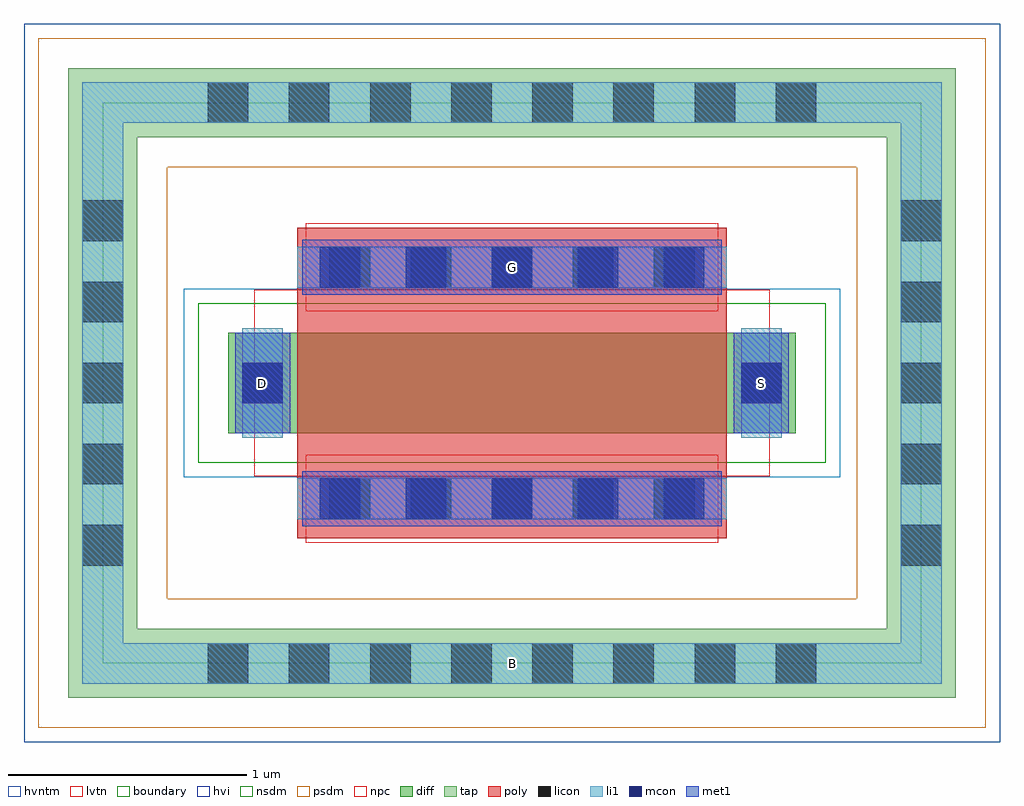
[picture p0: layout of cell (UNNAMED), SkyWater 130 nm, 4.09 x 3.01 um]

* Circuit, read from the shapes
.subckt (UNNAMED) B D G S
XM1 S G D B sky130_fd_pr__nfet_05v0_nvt w=0.42 l=1.8
.ends

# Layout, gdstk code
import gdstk
lib = gdstk.Library(unit=1e-6, precision=1e-09)
def R(c, l, rs):  # rectangles x0, y0, x1, y1
    for r in rs: c.add(gdstk.rectangle(r[:2], r[2:], *l))
def A(c, l, x, y, w, h, nx, ny, dx, dy):  # array of equal rectangles
    R(c, l, [(x+i*dx, y+j*dy, x+i*dx+w, y+j*dy+h) for i in range(nx) for j in range(ny)])
diff = (65, 20)
tap = (65, 44)
poly = (66, 20)
licon = (66, 44)
li1 = (67, 20)
mcon = (67, 44)
met1 = (68, 20)
hvi = (75, 20)
nsdm = (93, 44)
psdm = (94, 20)
npc = (95, 20)
hvntm = (125, 20)
lvtn = (125, 44)
boundary = (235, 4)

c__unnamed_ = lib.new_cell('(UNNAMED)')
R(c__unnamed_, diff, [(-1.19,-0.21,1.19,0.21)])
R(c__unnamed_, tap, [(-1.86,-1.32,1.86,-1.03), (-1.86,-1.03,-1.57,1.03), (1.57,-1.03,1.86,1.03), (-1.86,1.03,1.86,1.32)])
R(c__unnamed_, poly, [(-0.9,-0.65,0.9,0.65)])
A(c__unnamed_, licon, -1.275, -1.26, 0.17, 0.17, 8, 2, 0.34, 2.35)
A(c__unnamed_, licon, -1.8, -0.765, 0.17, 0.17, 1, 5, 0, 0.34)
A(c__unnamed_, licon, 1.63, -0.765, 0.17, 0.17, 1, 5, 0, 0.34)
A(c__unnamed_, licon, -0.765, -0.57, 0.17, 0.17, 5, 2, 0.34, 0.97)
R(c__unnamed_, licon, [(-1.13,-0.085,-0.96,0.085), (0.96,-0.085,1.13,0.085)])
R(c__unnamed_, li1, [(-1.8,-1.26,1.8,-1.09), (-1.8,-1.09,-1.63,1.09), (1.63,-1.09,1.8,1.09), (-0.9,-0.57,0.9,-0.4), (-1.13,-0.23,-0.96,0.23), (0.96,-0.23,1.13,0.23), (-0.9,0.4,0.9,0.57), (-1.8,1.09,1.8,1.26)])
A(c__unnamed_, mcon, -0.805, -0.57, 0.17, 0.17, 5, 2, 0.36, 0.97)
R(c__unnamed_, mcon, [(-1.13,-0.085,-0.96,0.085), (0.96,-0.085,1.13,0.085)])
R(c__unnamed_, met1, [(-0.88,-0.6,0.88,-0.37), (-1.16,-0.21,-0.93,0.21), (0.93,-0.21,1.16,0.21), (-0.88,0.37,0.88,0.6)])
R(c__unnamed_, hvi, [(-2.045,-1.505,2.045,1.505)])
R(c__unnamed_, nsdm, [(-1.315,-0.335,1.315,0.335)])
R(c__unnamed_, psdm, [(-1.985,-1.445,1.985,-0.905), (-1.985,-0.905,-1.445,0.905), (1.445,-0.905,1.985,0.905), (-1.985,0.905,1.985,1.445)])
R(c__unnamed_, npc, [(-0.865,-0.67,0.865,-0.3), (-0.865,0.3,0.865,0.67)])
R(c__unnamed_, hvntm, [(-1.375,-0.395,1.375,0.395)])
R(c__unnamed_, lvtn, [(-1.08,-0.39,1.08,0.39)])
R(c__unnamed_, boundary, [(-1.715,-1.175,1.715,1.175)])
c__unnamed_.add(gdstk.Label('B', (0,-1.175), layer=67, texttype=5))
c__unnamed_.add(gdstk.Label('D', (-1.045,0), layer=67, texttype=5))
c__unnamed_.add(gdstk.Label('S', (1.045,0), layer=67, texttype=5))
c__unnamed_.add(gdstk.Label('G', (0,0.485), layer=67, texttype=5))

lib.write_gds('_UNNAMED_.gds')
